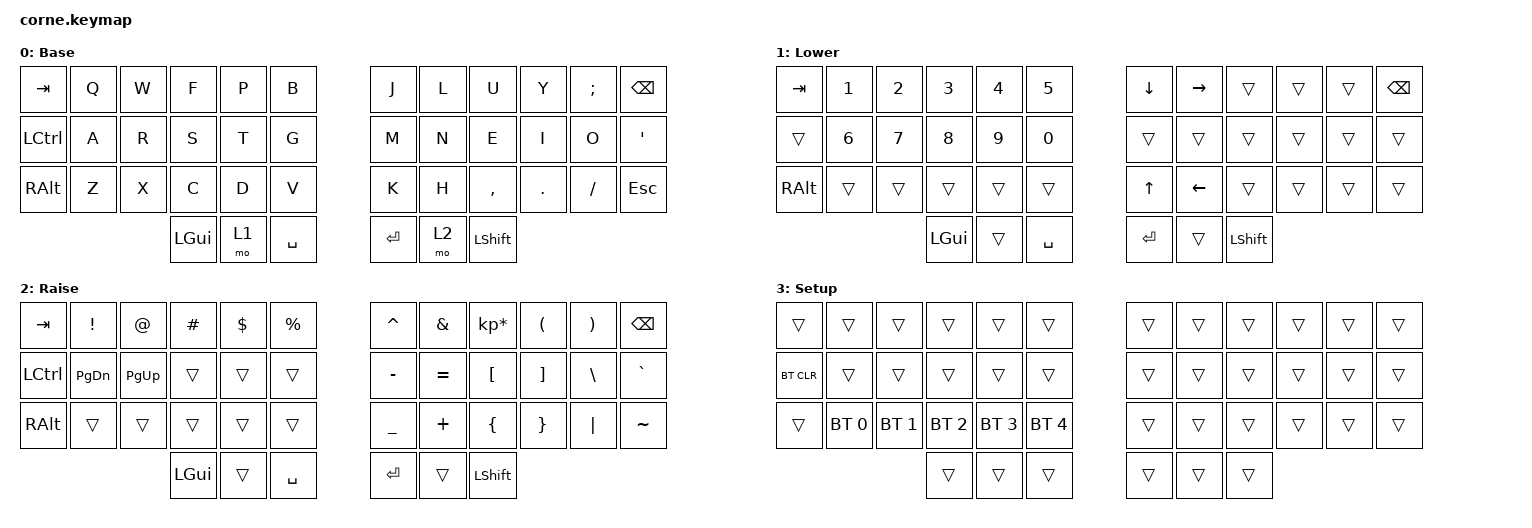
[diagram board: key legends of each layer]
/*
 * Copyright (c) 2020 The ZMK Contributors
 *
 * SPDX-License-Identifier: MIT
 */

#include <behaviors.dtsi>
#include <dt-bindings/zmk/bt.h>
#include <dt-bindings/zmk/keys.h>

/ {
    combos {
        compatible = "zmk,combos";

        setup_layer {
            bindings = <&mo 3>;
            key-positions = <37 40>;
        };
    };

    keymap {
        compatible = "zmk,keymap";

        default_layer {
            // -----------------------------------------------------------------------------------------
            // |  TAB |  Q  |  W  |  E  |  R  |  T  |   |  Y  |  U   |  I  |  O  |  P  | BKSP |
            // | CTRL |  A  |  S  |  D  |  F  |  G  |   |  H  |  J   |  K  |  L  |  ;  |  '   |
            // | SHFT |  Z  |  X  |  C  |  V  |  B  |   |  N  |  M   |  ,  |  .  |  /  | ESC  |
            //                    | GUI | LWR | SPC |   | ENT | RSE  | ALT |

            display-name = "Base";
            bindings = <
&kp TAB        &kp Q  &kp W  &kp F     &kp P  &kp B        &kp J    &kp L  &kp U           &kp Y    &kp SEMICOLON  &kp BSPC
&kp LCTRL      &kp A  &kp R  &kp S     &kp T  &kp G        &kp M    &kp N  &kp E           &kp I    &kp O          &kp SQT
&kp RIGHT_ALT  &kp Z  &kp X  &kp C     &kp D  &kp V        &kp K    &kp H  &kp COMMA       &kp DOT  &kp FSLH       &kp ESC
                             &kp LGUI  &mo 1  &kp SPACE    &kp RET  &mo 2  &kp LEFT_SHIFT
            >;
        };

        lower_layer {
            // -----------------------------------------------------------------------------------------
            // |  TAB |  1  |  2  |  3  |  4  |  5  |   |  6  |  7  |  8  |  9  |  0  | BKSP |
            // | BTCLR| BT1 | BT2 | BT3 | BT4 | BT5 |   | LFT | DWN |  UP | RGT |     |      |
            // | SHFT |     |     |     |     |     |   |     |     |     |     |     |      |
            //                    | GUI |     | SPC |   | ENT |     | ALT |

            display-name = "Lower";
            bindings = <
&kp TAB        &kp N1        &kp N2        &kp N3        &kp N4        &kp N5          &kp DOWN  &kp RIGHT  &trans          &trans  &trans  &kp BSPC
&trans         &kp NUMBER_6  &kp NUMBER_7  &kp NUMBER_8  &kp NUMBER_9  &kp NUMBER_0    &trans    &trans     &trans          &trans  &trans  &trans
&kp RIGHT_ALT  &trans        &trans        &trans        &trans        &trans          &kp UP    &kp LEFT   &trans          &trans  &trans  &trans
                                           &kp LGUI      &trans        &kp SPACE       &kp RET   &trans     &kp LEFT_SHIFT
            >;
        };

        raise_layer {
            // -----------------------------------------------------------------------------------------
            // |  TAB |  !  |  @  |  #  |  $  |  %  |   |  ^  |  &  |  *  |  (  |  )  | BKSP |
            // | CTRL |     |     |     |     |     |   |  -  |  =  |  [  |  ]  |  \  |  `   |
            // | SHFT |     |     |     |     |     |   |  _  |  +  |  {  |  }  | "|" |  ~   |
            //                    | GUI |     | SPC |   | ENT |     | ALT |

            display-name = "Raise";
            bindings = <
&kp TAB        &kp EXCL       &kp AT       &kp HASH  &kp DLLR  &kp PRCNT    &kp CARET  &kp AMPS   &kp KP_MULTIPLY  &kp LPAR  &kp RPAR  &kp BSPC
&kp LCTRL      &kp PAGE_DOWN  &kp PAGE_UP  &trans    &trans    &trans       &kp MINUS  &kp EQUAL  &kp LBKT         &kp RBKT  &kp BSLH  &kp GRAVE
&kp RIGHT_ALT  &trans         &trans       &trans    &trans    &trans       &kp UNDER  &kp PLUS   &kp LBRC         &kp RBRC  &kp PIPE  &kp TILDE
                                           &kp LGUI  &trans    &kp SPACE    &kp RET    &trans     &kp LEFT_SHIFT
            >;
        };

        setup_layer {
            bindings = <
&trans      &trans        &trans        &trans        &trans        &trans          &trans  &trans  &trans  &trans  &trans  &trans
&bt BT_CLR  &trans        &trans        &trans        &trans        &trans          &trans  &trans  &trans  &trans  &trans  &trans
&trans      &bt BT_SEL 0  &bt BT_SEL 1  &bt BT_SEL 2  &bt BT_SEL 3  &bt BT_SEL 4    &trans  &trans  &trans  &trans  &trans  &trans
                                        &trans        &trans        &trans          &trans  &trans  &trans
            >;

            label = "Setup";
        };
    };
};
